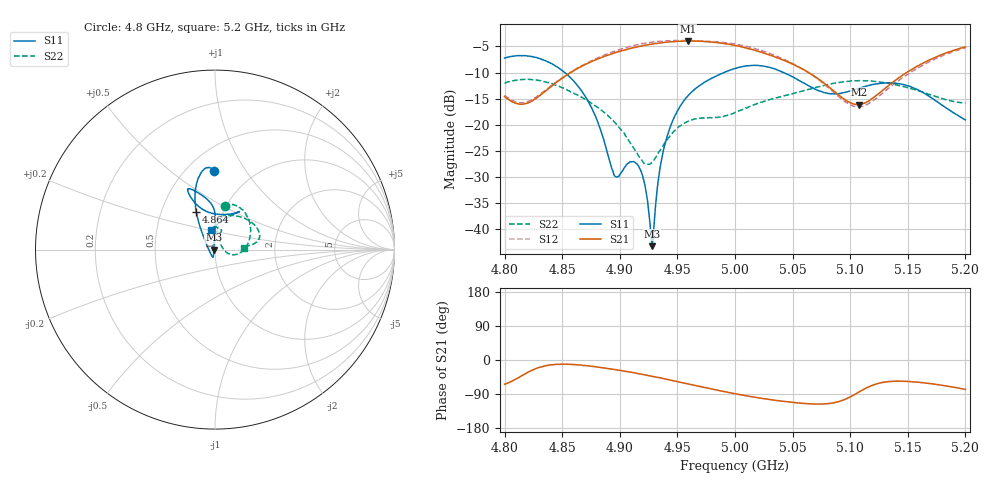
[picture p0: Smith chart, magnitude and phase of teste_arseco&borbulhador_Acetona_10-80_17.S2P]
! Network Analyzer HP8722D
! Hewlett-Packard
! Data name: Linha & Wilkinson
! Saver's name: Rodrigo Anjos
! Comments: Teste da utilização de aquisição
! continua pelo VNA HP8722D
! Time and date: 25/4/2025 15:24
!  Frequency  S11  S21  S12  S22
# HZ  S  MA R 50
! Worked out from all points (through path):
!   401 points, 4.8 GHz to 5.2 GHz, reference 50 ohm
!   highest |S21| = -3.96 dB at 4.959 GHz (marker M1); lowest = -16.1 dB at 5.108 GHz (marker M2)
!   lowest |S11| = -43.2 dB at 4.928 GHz (marker M3), VSWR 1.01, Z = 49.3 - j0.0647 ohm
!   |S11| at or under -10 dB: 4.852 GHz to 4.991 GHz (138.3 MHz wide, 2.81 % of centre); 5.042 GHz to end of sweep
!   |S22| runs from -27.6 to -11.3 dB; largest |S21 - S12| = 1.2
!   S11 on the Smith chart (normalised r, x): 4.8 GHz: 0.68, +0.73; 4.864 GHz: 0.75, +0.33; 5.2 GHz: 0.94, +0.21
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4.8e9  0.4353 90.7  0.1866 -64.0  0.1913 69.6  0.2488 77.0
4.82e9  0.4538 97.0  0.1611 -32.6  0.1669 98.2  0.272 62.0
4.844e9  0.3667 106.7  0.2495 -11.6  0.2528 119.0  0.2388 35.9
4.864e9  0.2326 116.5  0.3491 -12.9  0.3518 121.0  0.1905 12.3
4.867e9  0.2093 118.2  0.3635 -13.8  0.367 120.7  0.1829 8.8
4.88e9  0.1123 128.3  0.4229 -18.4  0.4323 118.3  0.1488 -5.1
4.896e9  0.03212 -167.1  0.4884 -25.3  0.5072 113.2  0.1046 -16.0
4.91e9  0.04426 -106.4  0.5392 -32.6  0.5646 107.1  0.06486 -13.5
4.917e9  0.03877 -103.3  0.5626 -36.5  0.5895 103.5  0.04899 -1.2
4.922e9  0.02585 -106.3  0.576 -39.3  0.6029 100.8  0.04265 15.6
4.928e9  0.006908 -174.6  0.5929 -42.8  0.6166 97.0  0.04396 40.2
4.93e9  0.01207 121.7  0.5968 -44.2  0.619 95.7  0.04655 47.9
4.934e9  0.03285 99.3  0.6035 -46.6  0.6289 93.3  0.05535 57.9
4.944e9  0.09662 90.5  0.6212 -53.1  0.6369 87.0  0.07927 69.4
4.959e9  0.1885 89.3  0.6339 -62.9  0.6388 77.2  0.1078 71.1
5e9  0.3455 109.0  0.5741 -89.1  0.5923 50.8  0.1313 88.3
5.03e9  0.3544 115.0  0.4653 -104.1  0.4812 33.8  0.1735 85.4
5.067e9  0.2274 105.1  0.3013 -115.9  0.2988 23.6  0.2225 57.2
5.108e9  0.2245 63.3  0.1563 -83.7  0.1481 59.4  0.2644 23.6
5.134e9  0.2515 57.2  0.2407 -56.7  0.2262 88.6  0.2487 12.4
5.168e9  0.1895 69.2  0.4129 -61.8  0.3969 85.3  0.1962 7.1
5.2e9  0.1115 100.3  0.5547 -77.7  0.5453 70.1  0.1615 3.8
